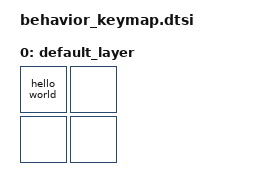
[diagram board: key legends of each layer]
/*
 * Copyright (c) 2024 The ZMK Contributors
 *
 * SPDX-License-Identifier: MIT
 */

#include <behaviors.dtsi>
#include <dt-bindings/zmk/kscan_mock.h>

/ {
    chosen {
        zmk,charmap = &charmap_us;
    };

    behaviors {
        ZMK_SEND_STRING(hello_world, "Hello, world!")
    };

    keymap {
        compatible = "zmk,keymap";

        default_layer {
            bindings = <
                &hello_world    &none
                &none           &none
            >;
        };
    };
};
